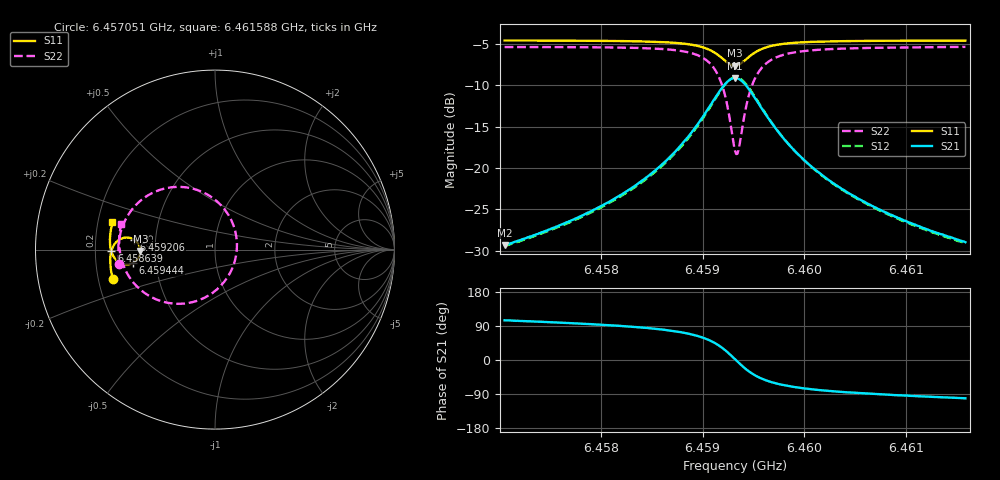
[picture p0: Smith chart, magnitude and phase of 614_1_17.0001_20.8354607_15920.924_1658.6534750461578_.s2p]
#  HZ  S  RI  R  50.00
! Rohde & Schwarz Vector Network Analyzer
! Rohde-Schwarz,ZNB20-2Port,1311601062101988,3.16
! Created: UTC 3/20/2024, 11:19:38 PM
! freq[Hz]  re:S11  im:S11  re:S21  im:S21  re:S12  im:S12  re:S22  im:S22
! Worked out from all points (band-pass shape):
!   401 points, 6.457051 GHz to 6.461588 GHz, reference 50 ohm
!   highest |S21| = -9.10 dB at 6.459319 GHz (marker M1); lowest = -29.3 dB at 6.457051 GHz (marker M2)
!   |S21| within 3 dB of the highest: 6.459092 GHz to 6.459547 GHz (454.2 kHz wide, 0.00703 % of centre)
!   lowest |S11| = -7.6 dB at 6.459319 GHz (marker M3), VSWR 2.42, Z = 20.6 - j0.388 ohm
!   |S11| at or under -10 dB: nowhere
!   |S22| runs from -18.3 to -5.3 dB; largest |S21 - S12| = 0.014
!   S11 on the Smith chart (normalised r, x): 6.457051 GHz: 0.26, -0.13; 6.458639 GHz: 0.27, -0.01; 6.459206 GHz: 0.38, +0.05; 6.459444 GHz: 0.37, -0.07; 6.461588 GHz: 0.26, +0.12
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6.4570506e9  -0.5684 -0.1665  -0.00871 0.0331  -0.00684 0.033  -0.5346 -0.0779
6.4578106e9  -0.5814 -0.0997  -0.00518 0.0512  -0.00253 0.0506  -0.5388 0.0122
6.4582303e9  -0.584 -0.0572  0.00103 0.071  0.00429 0.0695  -0.5297 0.0796
6.4585706e9  -0.5798 -0.0163  0.0152 0.1001  0.0193 0.0973  -0.5033 0.1576
6.4586387e9  -0.5774 -0.00685  0.0207 0.1085  0.0249 0.1053  -0.4929 0.1779
6.4588315e9  -0.5646 0.0236  0.0477 0.1397  0.0519 0.1346  -0.4417 0.2472
6.458979e9  -0.5415 0.0499  0.094 0.1702  0.0972 0.1635  -0.3566 0.3116
6.4591151e9  -0.497 0.0671  0.1824 0.1865  0.1832 0.1791  -0.1946 0.3494
6.4592058e9  -0.4519 0.0563  0.2734 0.1542  0.2735 0.1486  -0.0261 0.297
6.4592739e9  -0.4226 0.0237  0.3343 0.0812  0.3365 0.0758  0.0905 0.1648
6.4593193e9  -0.4158 -0.00778  0.3505 0.0121  0.3543 0.0053  0.1223 0.0353
6.4593533e9  -0.4198 -0.032  0.3444 -0.0411  0.3484 -0.0502  0.11 -0.0656
6.4593987e9  -0.4356 -0.0584  0.3151 -0.1017  0.3174 -0.1137  0.0505 -0.1804
6.4594441e9  -0.458 -0.0748  0.2722 -0.1431  0.2714 -0.1566  -0.0366 -0.2561
6.4595348e9  -0.5019 -0.0818  0.1861 -0.1742  0.1797 -0.186  -0.2086 -0.302
6.4596029e9  -0.5265 -0.0744  0.137 -0.1718  0.1287 -0.1811  -0.3036 -0.2862
6.4596823e9  -0.5463 -0.0612  0.0968 -0.1596  0.0881 -0.1659  -0.3787 -0.2506
6.4598411e9  -0.5681 -0.0334  0.0514 -0.131  0.0437 -0.1338  -0.4601 -0.177
6.4600793e9  -0.5809 0.00229  0.0221 -0.0987  0.0161 -0.0994  -0.5082 -0.0933
6.4604309e9  -0.5854 0.0443  0.00581 -0.0706  0.00159 -0.0704  -0.5298 -0.0113
6.4608393e9  -0.5834 0.0855  -0.00172 -0.0526  -0.0045 -0.0518  -0.5334 0.055
6.4615879e9  -0.5713 0.152  -0.00683 -0.0349  -0.00843 -0.0341  -0.5219 0.1444
